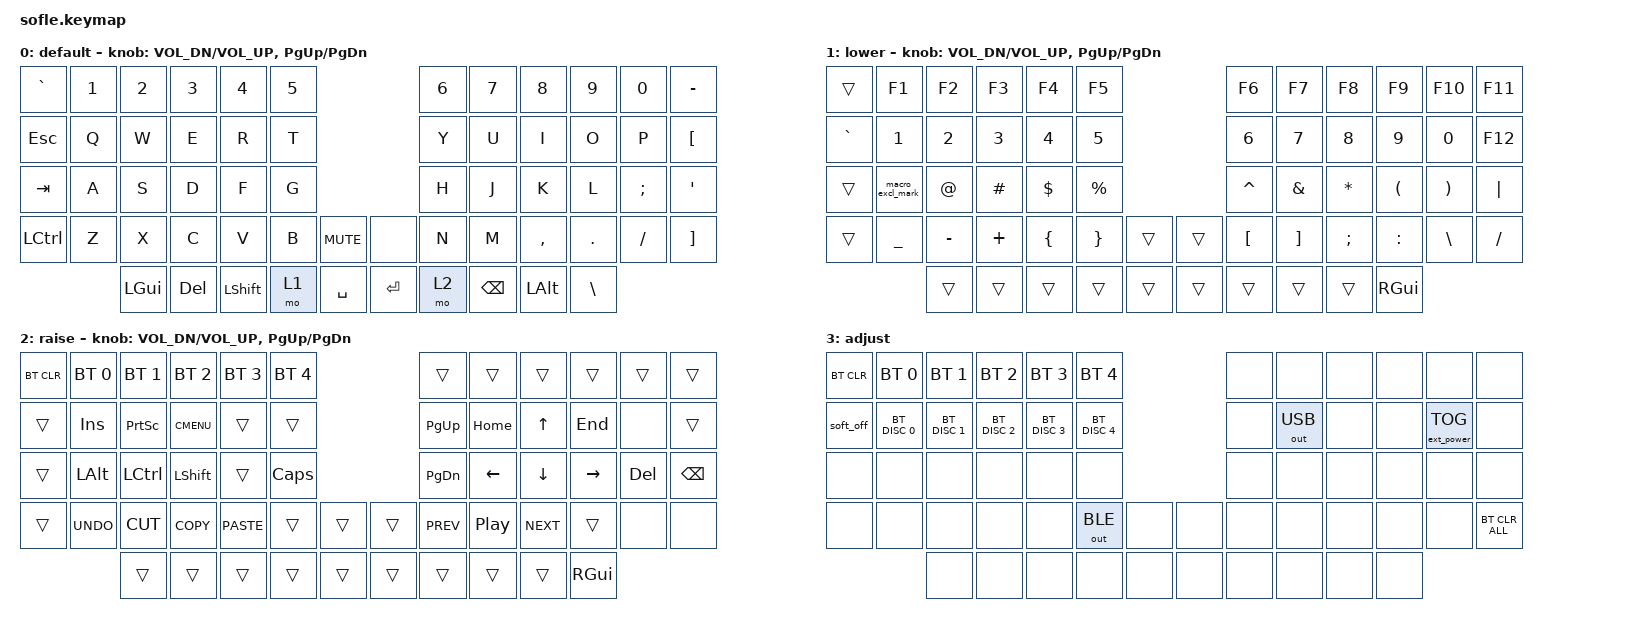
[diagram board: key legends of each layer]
/*
 * Copyright (c) 2020 The ZMK Contributors
 *
 * SPDX-License-Identifier: MIT
 */

#include <behaviors.dtsi>
#include <dt-bindings/zmk/bt.h>
#include <dt-bindings/zmk/ext_power.h>
#include <dt-bindings/zmk/keys.h>
#include <dt-bindings/zmk/outputs.h>

#define BASE 0
#define LOWER 1
#define RAISE 2
#define ADJUST 3

/ {
    // Activate ADJUST layer by pressing raise and lower

    conditional_layers {
        compatible = "zmk,conditional-layers";

        adjust_layer {
            if-layers = <1 2>;
            then-layer = <3>;
        };
    };

    combos { compatible = "zmk,combos"; };

    macros {
        macro_excl_mark: macro_excl_mark {
            compatible = "zmk,behavior-macro";
            #binding-cells = <0>;
            bindings =
                <&macro_press>,
                <&kp LALT>,
                <&macro_tap>,
                <&kp KP_NUMBER_3 &kp KP_NUMBER_3>,
                <&macro_release>,
                <&kp LALT>;

            label = "MACRO_EXCL_MARK";
        };
    };

    keymap {
        compatible = "zmk,keymap";

        default_layer {
            display-name = "default";

            // ------------------------------------------------------------------------------------------------------------
            // |   `   |  1  |  2  |  3   |  4   |  5   |                   |  6   |  7    |  8    |  9   |   0   |   =   |
            // |  ESC  |  Q  |  W  |  E   |  R   |  T   |                   |  Y   |  U    |  I    |  O   |   P   |   [   |
            // |  TAB  |  A  |  S  |  D   |  F   |  G   |                   |  H   |  J    |  K    |  L   |   ;   |   ]   |
            // | LCTRL |  Z  |  X  |  C   |  V   |  B   |  MUTE  |  |       |  N   |  M    |  ,    |  .   |   /   |   '   |
            //               | GUI | DEL  |LSHIFT| LOWER|  ENTER |  | SPACE | RAISE|BACKSPC| ALT   | GUI  |

            bindings = <
&kp GRAVE  &kp N1  &kp N2    &kp N3   &kp N4          &kp N5                         &kp N6  &kp N7         &kp N8        &kp N9         &kp N0    &kp MINUS
&kp ESC    &kp Q   &kp W     &kp E    &kp R           &kp T                          &kp Y   &kp U          &kp I         &kp O          &kp P     &kp LEFT_BRACKET
&kp TAB    &kp A   &kp S     &kp D    &kp F           &kp G                          &kp H   &kp J          &kp K         &kp L          &kp SEMI  &kp SQT
&kp LCTRL  &kp Z   &kp X     &kp C    &kp V           &kp B   &kp C_MUTE    &none    &kp N   &kp M          &kp COMMA     &kp DOT        &kp FSLH  &kp RIGHT_BRACKET
                   &kp LGUI  &kp DEL  &kp LEFT_SHIFT  &mo 1   &kp SPACE     &kp RET  &mo 2   &kp BACKSPACE  &kp LEFT_ALT  &kp BACKSLASH
            >;

            sensor-bindings =
                <&inc_dec_kp C_VOL_DN C_VOLUME_UP>,
                <&inc_dec_kp PG_UP PG_DN>;
        };

        lower_layer {
            display-name = "lower";

            // TODO: Some binds are waiting for shifted keycode support.
            // ------------------------------------------------------------------------------------------------------------
            // |       |  F1 |  F2 |  F3  |  F4  |  F5  |                   |  F6  |  F7   |  F8   |  F9  |  F10  |  F11  |
            // |   `   |  1  |  2  |  3   |  4   |  5   |                   |  6   |  7    |  8    |  9   |   0   |  F12  |
            // |       |  !  |  @  |  #   |  $   |  %   |                   |  ^   |  &    |  *    |  (   |   )   |   |   |
            // |       |  =  |  -  |  +   |  {   |  }   |        |  |       |  [   |  ]    |  ;    |  :   |   \   |       |
            //               |     |      |      |      |        |  |       |      |       |       |      |

            bindings = <
&trans     &kp F1            &kp F2     &kp F3    &kp F4    &kp F5                       &kp F6     &kp F7    &kp F8     &kp F9         &kp F10   &kp F11
&kp GRAVE  &kp N1            &kp N2     &kp N3    &kp N4    &kp N5                       &kp N6     &kp N7    &kp N8     &kp N9         &kp N0    &kp F12
&trans     &macro_excl_mark  &kp AT     &kp HASH  &kp DLLR  &kp PRCNT                    &kp CARET  &kp AMPS  &kp ASTRK  &kp LPAR       &kp RPAR  &kp PIPE
&trans     &kp UNDERSCORE    &kp MINUS  &kp PLUS  &kp LBRC  &kp RBRC   &trans    &trans  &kp LBKT   &kp RBKT  &kp SEMI   &kp COLON      &kp BSLH  &kp SLASH
                             &trans     &trans    &trans    &trans     &trans    &trans  &trans     &trans    &trans     &kp RIGHT_GUI
            >;

            sensor-bindings =
                <&inc_dec_kp C_VOL_DN C_VOL_UP>,
                <&inc_dec_kp PG_UP PG_DN>;
        };

        raise_layer {
            display-name = "raise";

            // ------------------------------------------------------------------------------------------------------------
            // | BTCLR | BT1  | BT2  |  BT3  |  BT4  |  BT5 |                |      |      |       |      |       |       |
            // |       | INS  | PSCR | GUI   |       |      |                | PGUP |      |   ^   |      |       |       |
            // |       | ALT  | CTRL | SHIFT |       | CAPS |                | PGDN |   <- |   v   |  ->  |  DEL  | BKSPC |
            // |       | UNDO | CUT  | COPY  | PASTE |      |      |  |      |      |      |       |      |       |       |
            //                |      |       |       |      |      |  |      |      |      |       |      |

            bindings = <
&bt BT_CLR  &bt BT_SEL 0  &bt BT_SEL 1  &bt BT_SEL 2  &bt BT_SEL 3  &bt BT_SEL 4                    &trans      &trans            &trans      &trans         &trans   &trans
&trans      &kp INS       &kp PSCRN     &kp K_CMENU   &trans        &trans                          &kp PG_UP   &kp HOME          &kp UP      &kp END        &none    &trans
&trans      &kp LALT      &kp LCTRL     &kp LSHFT     &trans        &kp CLCK                        &kp PG_DN   &kp LEFT          &kp DOWN    &kp RIGHT      &kp DEL  &kp BSPC
&trans      &kp K_UNDO    &kp K_CUT     &kp K_COPY    &kp K_PASTE   &trans        &trans    &trans  &kp C_PREV  &kp C_PLAY_PAUSE  &kp C_NEXT  &trans         &none    &none
                          &trans        &trans        &trans        &trans        &trans    &trans  &trans      &trans            &trans      &kp RIGHT_GUI
            >;

            sensor-bindings =
                <&inc_dec_kp C_VOL_DN C_VOL_UP>,
                <&inc_dec_kp PG_UP PG_DN>;
        };

        adjust_layer {
            // ----------------------------------------------------------------------------------------------------------------------------
            // | BTCLR  |  BT1    |  BT2    |   BT3   |   BT4   |   BT5   |                  |      |      |       |      |       |       |
            // | EXTPWR | RGB_HUD | RGB_HUI | RGB_SAD | RGB_SAI | RGB_EFF |                  |      |      |       |      |       |       |
            // |        | RGB_BRD | RGB_BRI |         |         |         |                  |      |      |       |      |       |       |
            // |        |         |         |         |         |         | RGB_TOG | |      |      |      |       |      |       |       |
            //                    |         |         |         |         |         | |      |      |      |       |      |

            display-name = "adjust";
            bindings = <
&bt BT_CLR  &bt BT_SEL 0   &bt BT_SEL 1   &bt BT_SEL 2   &bt BT_SEL 3   &bt BT_SEL 4                   &none  &none         &none  &none  &none              &none
&soft_off   &bt BT_DISC 0  &bt BT_DISC 1  &bt BT_DISC 2  &bt BT_DISC 3  &bt BT_DISC 4                  &none  &out OUT_USB  &none  &none  &ext_power EP_TOG  &none
&none       &none          &none          &none          &none          &none                          &none  &none         &none  &none  &none              &none
&none       &none          &none          &none          &none          &out OUT_BLE   &none    &none  &none  &none         &none  &none  &none              &bt BT_CLR_ALL
                           &none          &none          &none          &none          &none    &none  &none  &none         &none  &none
            >;
        };
    };
};
